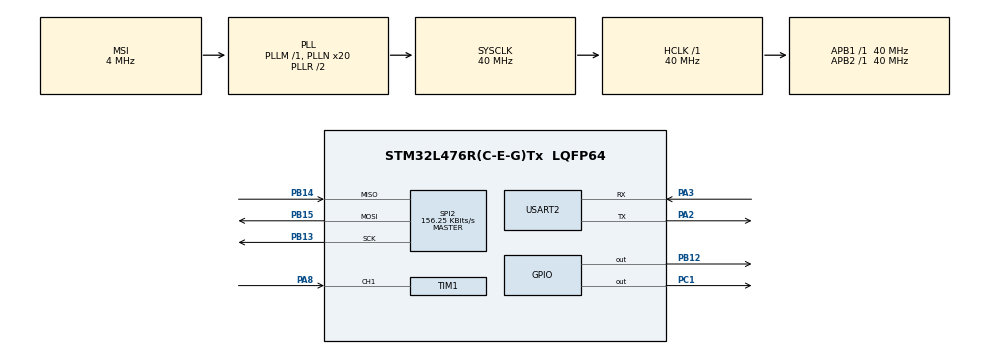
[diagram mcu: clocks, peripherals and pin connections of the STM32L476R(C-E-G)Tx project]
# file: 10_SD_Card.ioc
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FATFS._MAX_SS=4096
FATFS._USE_LFN=1
Mcu.Family=STM32L4
Mcu.Name=STM32L476R(C-E-G)Tx
Mcu.Package=LQFP64
NVIC.PriorityGroup=NVIC_PRIORITYGROUP_4
PA13\ (JTMS-SWDIO).Mode=Trace_Asynchronous_SW
PA13\ (JTMS-SWDIO).Signal=SYS_JTMS-SWDIO
PA14\ (JTCK-SWCLK).Mode=Trace_Asynchronous_SW
PA14\ (JTCK-SWCLK).Signal=SYS_JTCK-SWCLK
PA2.Mode=Asynchronous
PA2.Signal=USART2_TX
PA3.Mode=Asynchronous
PA3.Signal=USART2_RX
PA8.Signal=S_TIM1_CH1
PB12.Signal=GPIO_Output
PB13.Mode=Full_Duplex_Master
PB13.Signal=SPI2_SCK
PB14.Mode=Full_Duplex_Master
PB14.Signal=SPI2_MISO
PB15.Mode=Full_Duplex_Master
PB15.Signal=SPI2_MOSI
PB3\ (JTDO-TRACESWO).Mode=Trace_Asynchronous_SW
PB3\ (JTDO-TRACESWO).Signal=SYS_JTDO-SWO
PC1.Signal=GPIO_Output
ProjectManager.HeapSize=0x200
ProjectManager.StackSize=0x400
ProjectManager.TargetToolchain=STM32CubeIDE
RCC.ADCFreq_Value=16000000
RCC.AHBFreq_Value=40000000
RCC.APB1Freq_Value=40000000
RCC.APB1TimFreq_Value=40000000
RCC.APB2Freq_Value=40000000
RCC.APB2TimFreq_Value=40000000
RCC.CortexFreq_Value=40000000
RCC.HCLKFreq_Value=40000000
RCC.HSE_VALUE=8000000
RCC.HSI_VALUE=16000000
RCC.LSE_VALUE=32768
RCC.MSI_VALUE=4000000
RCC.PLLN=20
RCC.PREFETCH_ENABLE=1
RCC.SYSCLKFreq_VALUE=40000000
RCC.SYSCLKSource=RCC_SYSCLKSOURCE_PLLCLK
RCC.USBFreq_Value=16000000
RCC.VCOOutputFreq_Value=80000000
SH.S_TIM1_CH1.0=TIM1_CH1,Input_Capture1_from_TI1
SPI2.BaudRatePrescaler=SPI_BAUDRATEPRESCALER_256
SPI2.CalculateBaudRate=156.25 KBits/s
SPI2.DataSize=SPI_DATASIZE_8BIT
SPI2.Direction=SPI_DIRECTION_2LINES
SPI2.Mode=SPI_MODE_MASTER
SPI2.VirtualType=VM_MASTER
TIM1.Channel-Input_Capture1_from_TI1=TIM_CHANNEL_1
TIM1.Prescaler=80-1
USART2.VirtualMode-Asynchronous=VM_ASYNC
VP_FATFS_VS_Generic.Mode=User_defined
board=NUCLEO-L476RG

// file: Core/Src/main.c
/* USER CODE BEGIN Header */
/**
  ******************************************************************************
  * @file           : main.c
  * @brief          : Main program body (SD logging + HCSR04)
  ******************************************************************************
  */
/* USER CODE END Header */
#include "main.h"
#include "fatfs.h"

SPI_HandleTypeDef hspi2;

TIM_HandleTypeDef htim1;

UART_HandleTypeDef huart2;

/* USER CODE BEGIN PV */
/* SD Logging globals */
FIL logFile;
FRESULT fres;
UINT bw;
char line[64];

/* HCSR04 globals */
uint32_t IC_Val1 = 0;
uint32_t IC_Val2 = 0;
uint8_t Is_First_Captured = 0;  // 0 - not captured, 1 - captured first
uint16_t Distance = 0;

/* Pins (user provided) */
#define TRIG_PORT GPIOA
#define TRIG_PIN  GPIO_PIN_1

#define ECHO_PORT GPIOA
#define ECHO_PIN  GPIO_PIN_2

/* USER CODE END PV */

void SystemClock_Config(void);
static void MX_GPIO_Init(void);
static void MX_SPI2_Init(void);
static void MX_USART2_UART_Init(void);
static void MX_TIM1_Init(void);
/* USER CODE BEGIN PFP */
void SD_Log_Init(void);
void SD_Log_Distance(int distance);
uint16_t HCSR04_Read(void);
void DWT_Delay_us(uint32_t us);
/* USER CODE END PFP */

/* USER CODE BEGIN 0 */
/* Retarget printf to ITM for debugging (existing in your project) */
int _write(int file, char *ptr, int len)
{
    int i=0;
    for(i=0;i<len;i++)
        ITM_SendChar((*ptr++));
    return len;
}

/* Enable DWT CYCCNT for microsecond timing */
static void DWT_Init(void)
{
    if (!(CoreDebug->DEMCR & CoreDebug_DEMCR_TRCENA_Msk))
    {
        CoreDebug->DEMCR |= CoreDebug_DEMCR_TRCENA_Msk;
    }
    DWT->CYCCNT = 0;
    DWT->CTRL |= DWT_CTRL_CYCCNTENA_Msk;
}

/* Simple busy-wait microsecond delay using DWT cycle counter */
void DWT_Delay_us(uint32_t us)
{
    uint32_t cycles = (SystemCoreClock / 1000000UL) * us;
    uint32_t start = DWT->CYCCNT;
    while ((DWT->CYCCNT - start) < cycles) { __NOP(); }
}

/* TIM1 capture callback */
void HAL_TIM_IC_CaptureCallback(TIM_HandleTypeDef *htim)
{
    if (htim->Instance == TIM1)
    {
        if (htim->Channel == HAL_TIM_ACTIVE_CHANNEL_1)
        {
            if (Is_First_Captured == 0)
            {
                IC_Val1 = HAL_TIM_ReadCapturedValue(htim, TIM_CHANNEL_1);
                Is_First_Captured = 1;

                /* Now capture falling edge */
                __HAL_TIM_SET_CAPTUREPOLARITY(&htim1, TIM_CHANNEL_1, TIM_INPUTCHANNELPOLARITY_FALLING);
            }
            else
            {
                IC_Val2 = HAL_TIM_ReadCapturedValue(htim, TIM_CHANNEL_1);

                /* restore rising-edge capture for next measurement */
                __HAL_TIM_SET_CAPTUREPOLARITY(&htim1, TIM_CHANNEL_1, TIM_INPUTCHANNELPOLARITY_RISING);

                uint32_t diff;
                if (IC_Val2 >= IC_Val1)
                {
                    diff = IC_Val2 - IC_Val1;
                }
                else
                {
                    /* timer overflow case */
                    diff = (0xFFFF - IC_Val1) + IC_Val2 + 1;
                }

                /* diff is in microseconds if timer tick = 1 MHz */
                /* Distance in cm = (time_us * speed_of_sound_cm_per_us) / 2
                   speed_of_sound ≈ 0.0343 cm/us => use float multiply */
                Distance = (uint16_t)((diff * 0.0343f) / 2.0f);

                Is_First_Captured = 0;
            }
        }
    }
}

/* USER CODE END 0 */

int main(void)
{

  /* MCU Configuration--------------------------------------------------------*/

  /* Reset of all peripherals, Initializes the Flash interface and the Systick. */
  HAL_Init();

  /* Configure the system clock */
  SystemClock_Config();

  /* Initialize all configured peripherals */
  MX_GPIO_Init();
  MX_SPI2_Init();
  MX_FATFS_Init();
  MX_USART2_UART_Init();
  MX_TIM1_Init();
  /* USER CODE BEGIN 2 */
  DWT_Init();

  printf("SD + HCSR04 logging example starting...\r\n");
  SD_Log_Init();

  /* USER CODE END 2 */

  /* Infinite loop */
  while (1)
  {

  }
}

void SystemClock_Config(void)
{
  RCC_OscInitTypeDef RCC_OscInitStruct = {0};
  RCC_ClkInitTypeDef RCC_ClkInitStruct = {0};

  /** Configure the main internal regulator output voltage
  */
  if (HAL_PWREx_ControlVoltageScaling(PWR_REGULATOR_VOLTAGE_SCALE1) != HAL_OK)
  {
    Error_Handler();
  }

  /** Initializes the RCC Oscillators according to the specified parameters
  * in the RCC_OscInitTypeDef structure.
  */
  RCC_OscInitStruct.OscillatorType = RCC_OSCILLATORTYPE_MSI;
  RCC_OscInitStruct.MSIState = RCC_MSI_ON;
  RCC_OscInitStruct.MSICalibrationValue = 0;
  RCC_OscInitStruct.MSIClockRange = RCC_MSIRANGE_6;
  RCC_OscInitStruct.PLL.PLLState = RCC_PLL_ON;
  RCC_OscInitStruct.PLL.PLLSource = RCC_PLLSOURCE_MSI;
  RCC_OscInitStruct.PLL.PLLM = 1;
  RCC_OscInitStruct.PLL.PLLN = 20;
  RCC_OscInitStruct.PLL.PLLP = RCC_PLLP_DIV7;
  RCC_OscInitStruct.PLL.PLLQ = RCC_PLLQ_DIV2;
  RCC_OscInitStruct.PLL.PLLR = RCC_PLLR_DIV2;
  if (HAL_RCC_OscConfig(&RCC_OscInitStruct) != HAL_OK)
  {
    Error_Handler();
  }

  /** Initializes the CPU, AHB and APB buses clocks
  */
  RCC_ClkInitStruct.ClockType = RCC_CLOCKTYPE_HCLK|RCC_CLOCKTYPE_SYSCLK
                              |RCC_CLOCKTYPE_PCLK1|RCC_CLOCKTYPE_PCLK2;
  RCC_ClkInitStruct.SYSCLKSource = RCC_SYSCLKSOURCE_PLLCLK;
  RCC_ClkInitStruct.AHBCLKDivider = RCC_SYSCLK_DIV1;
  RCC_ClkInitStruct.APB1CLKDivider = RCC_HCLK_DIV1;
  RCC_ClkInitStruct.APB2CLKDivider = RCC_HCLK_DIV1;

  if (HAL_RCC_ClockConfig(&RCC_ClkInitStruct, FLASH_LATENCY_2) != HAL_OK)
  {
    Error_Handler();
  }
}

static void MX_SPI2_Init(void)
{

  /* SPI2 parameter configuration*/
  hspi2.Instance = SPI2;
  hspi2.Init.Mode = SPI_MODE_MASTER;
  hspi2.Init.Direction = SPI_DIRECTION_2LINES;
  hspi2.Init.DataSize = SPI_DATASIZE_8BIT;
  hspi2.Init.CLKPolarity = SPI_POLARITY_LOW;
  hspi2.Init.CLKPhase = SPI_PHASE_1EDGE;
  hspi2.Init.NSS = SPI_NSS_SOFT;
  hspi2.Init.BaudRatePrescaler = SPI_BAUDRATEPRESCALER_256;
  hspi2.Init.FirstBit = SPI_FIRSTBIT_MSB;
  hspi2.Init.TIMode = SPI_TIMODE_DISABLE;
  hspi2.Init.CRCCalculation = SPI_CRCCALCULATION_DISABLE;
  hspi2.Init.CRCPolynomial = 7;
  hspi2.Init.CRCLength = SPI_CRC_LENGTH_DATASIZE;
  hspi2.Init.NSSPMode = SPI_NSS_PULSE_ENABLE;
  if (HAL_SPI_Init(&hspi2) != HAL_OK)
  {
    Error_Handler();
  }

}

static void MX_TIM1_Init(void)
{

  TIM_MasterConfigTypeDef sMasterConfig = {0};
  TIM_IC_InitTypeDef sConfigIC = {0};

  htim1.Instance = TIM1;
  htim1.Init.Prescaler = 80-1;
  htim1.Init.CounterMode = TIM_COUNTERMODE_UP;
  htim1.Init.Period = 65535;
  htim1.Init.ClockDivision = TIM_CLOCKDIVISION_DIV1;
  htim1.Init.RepetitionCounter = 0;
  htim1.Init.AutoReloadPreload = TIM_AUTORELOAD_PRELOAD_DISABLE;
  if (HAL_TIM_IC_Init(&htim1) != HAL_OK)
  {
    Error_Handler();
  }
  sMasterConfig.MasterOutputTrigger = TIM_TRGO_RESET;
  sMasterConfig.MasterOutputTrigger2 = TIM_TRGO2_RESET;
  sMasterConfig.MasterSlaveMode = TIM_MASTERSLAVEMODE_DISABLE;
  if (HAL_TIMEx_MasterConfigSynchronization(&htim1, &sMasterConfig) != HAL_OK)
  {
    Error_Handler();
  }
  sConfigIC.ICPolarity = TIM_INPUTCHANNELPOLARITY_RISING;
  sConfigIC.ICSelection = TIM_ICSELECTION_DIRECTTI;
  sConfigIC.ICPrescaler = TIM_ICPSC_DIV1;
  sConfigIC.ICFilter = 0;
  if (HAL_TIM_IC_ConfigChannel(&htim1, &sConfigIC, TIM_CHANNEL_1) != HAL_OK)
  {
    Error_Handler();
  }

}

static void MX_USART2_UART_Init(void)
{

  huart2.Instance = USART2;
  huart2.Init.BaudRate = 115200;
  huart2.Init.WordLength = UART_WORDLENGTH_8B;
  huart2.Init.StopBits = UART_STOPBITS_1;
  huart2.Init.Parity = UART_PARITY_NONE;
  huart2.Init.Mode = UART_MODE_TX_RX;
  huart2.Init.HwFlowCtl = UART_HWCONTROL_NONE;
  huart2.Init.OverSampling = UART_OVERSAMPLING_16;
  huart2.Init.OneBitSampling = UART_ONE_BIT_SAMPLE_DISABLE;
  huart2.AdvancedInit.AdvFeatureInit = UART_ADVFEATURE_NO_INIT;
  if (HAL_UART_Init(&huart2) != HAL_OK)
  {
    Error_Handler();
  }

}

static void MX_GPIO_Init(void)
{
  GPIO_InitTypeDef GPIO_InitStruct = {0};

  /* GPIO Ports Clock Enable */
  __HAL_RCC_GPIOC_CLK_ENABLE();
  __HAL_RCC_GPIOA_CLK_ENABLE();
  __HAL_RCC_GPIOB_CLK_ENABLE();

  /*Configure GPIO pin Output Level */
  HAL_GPIO_WritePin(GPIOC, GPIO_PIN_1, GPIO_PIN_RESET);

  /*Configure GPIO pin Output Level */
  HAL_GPIO_WritePin(GPIOB, GPIO_PIN_12, GPIO_PIN_SET);

  /*Configure GPIO pin : PC1 */
  GPIO_InitStruct.Pin = GPIO_PIN_1;
  GPIO_InitStruct.Mode = GPIO_MODE_OUTPUT_PP;
  GPIO_InitStruct.Pull = GPIO_NOPULL;
  GPIO_InitStruct.Speed = GPIO_SPEED_FREQ_LOW;
  HAL_GPIO_Init(GPIOC, &GPIO_InitStruct);

  /*Configure GPIO pin : PB12 */
  GPIO_InitStruct.Pin = GPIO_PIN_12;
  GPIO_InitStruct.Mode = GPIO_MODE_OUTPUT_PP;
  GPIO_InitStruct.Pull = GPIO_NOPULL;
  GPIO_InitStruct.Speed = GPIO_SPEED_FREQ_LOW;
  HAL_GPIO_Init(GPIOB, &GPIO_InitStruct);

}

/* USER CODE BEGIN 4 */

/* Initialize SD card and open Logs.txt for append */
void SD_Log_Init(void)
{
    /* mount filesystem */
    fres = f_mount(&USERFatFS, USERPath, 1);
    if (fres != FR_OK)
    {
        printf("SD mount error : %d\r\n", fres);
        return;
    }
    printf("SD Mounted!\r\n");

    /* open or create file in append mode */
    fres = f_open(&logFile, "Logs.txt", FA_OPEN_APPEND | FA_WRITE);
    if (fres != FR_OK)
    {
        printf("Log file open error : %d\r\n", fres);
        return;
    }
    printf("Log file opened for appending.\r\n");
}

/* Append a line with the distance */
void SD_Log_Distance(int distance)
{
    int len = snprintf(line, sizeof(line), "object distance: %dcm\r\n", distance);
    if (len < 0) return;

    fres = f_write(&logFile, line, (UINT)len, &bw);
    if (fres != FR_OK)
    {
        printf("Write error : %d\r\n", fres);
        return;
    }

    f_sync(&logFile);   /* ensure data is flushed to SD */
}

/* HCSR04 reading using TIM1 input capture + DWT-based trigger pulse */
uint16_t HCSR04_Read(void)
{
    /* Reset globals */
    Distance = 0;
    Is_First_Captured = 0;
    IC_Val1 = 0;
    IC_Val2 = 0;

    /* Ensure capture polarity is rising edge for start */
    __HAL_TIM_SET_CAPTUREPOLARITY(&htim1, TIM_CHANNEL_1, TIM_INPUTCHANNELPOLARITY_RISING);

    /* Generate trigger pulse: high for 10us */
    HAL_GPIO_WritePin(TRIG_PORT, TRIG_PIN, GPIO_PIN_RESET);
    HAL_Delay(2); /* ensure stable low */
    HAL_GPIO_WritePin(TRIG_PORT, TRIG_PIN, GPIO_PIN_SET);
    DWT_Delay_us(10);  /* 10 microsecond pulse */
    HAL_GPIO_WritePin(TRIG_PORT, TRIG_PIN, GPIO_PIN_RESET);

    /* Reset timer counter to 0 for fresh measurement */
    __HAL_TIM_SET_COUNTER(&htim1, 0);

    /* Start IC interrupt (already started at init, but ensure enabled) */
    __HAL_TIM_ENABLE_IT(&htim1, TIM_IT_CC1);

    /* Wait until first capture (rising edge) or timeout */
    uint32_t tickstart = HAL_GetTick();
    while (Is_First_Captured == 0)
    {
        if ((HAL_GetTick() - tickstart) > 60)  /* 60 ms timeout */
        {
            Distance = 0;
            return Distance;
        }
    }

    /* Wait until measurement completes (Is_First_Captured will be cleared in callback) */
    tickstart = HAL_GetTick();
    while (Is_First_Captured != 0)
    {
        if ((HAL_GetTick() - tickstart) > 60)
        {
            Distance = 0;
            Is_First_Captured = 0;
            return Distance;
        }
    }

    return Distance;
}

/* USER CODE END 4 */

void Error_Handler(void)
{
  __disable_irq();
  while (1)
  {
  }
}
